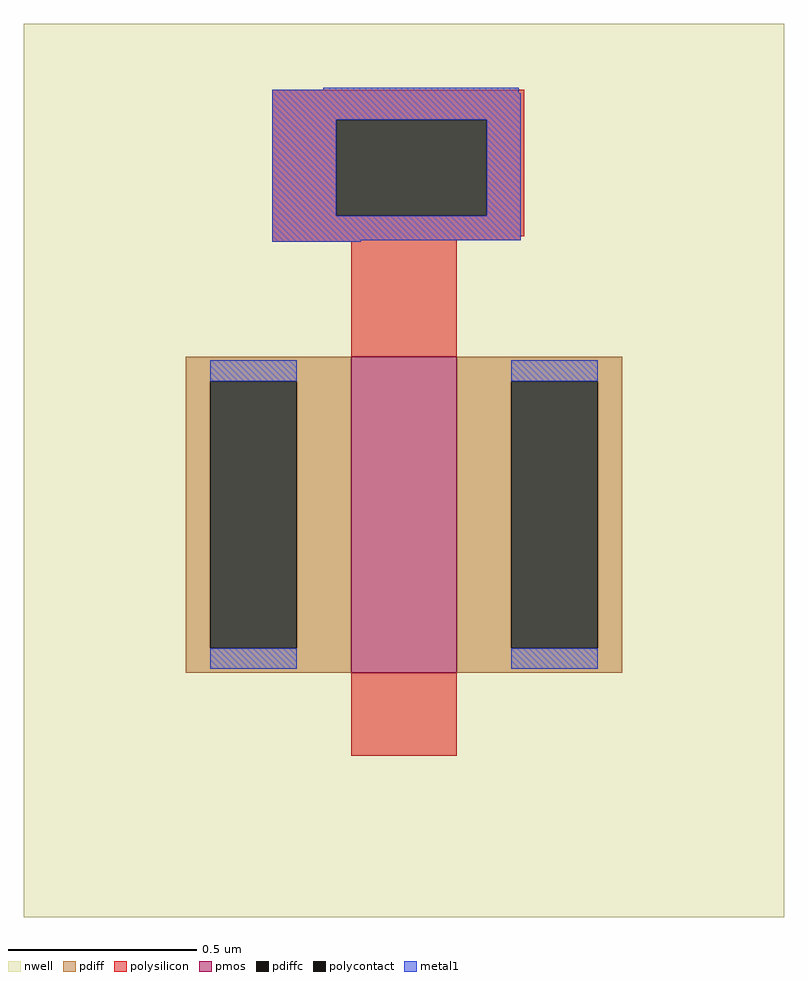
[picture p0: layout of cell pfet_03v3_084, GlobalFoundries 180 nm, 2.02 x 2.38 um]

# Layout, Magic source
magic
tech gf180mcuD
magscale 1 10
<< nwell >>
rect -79 339 325 403
rect 53 290 187 339
rect 53 288 185 290
rect 53 287 151 288
rect 95 261 151 287
<< polysilicon >>
rect 53 352 187 368
rect 53 301 87 352
rect 167 301 187 352
rect 53 290 187 301
rect 53 288 185 290
rect 53 287 151 288
rect 95 261 151 287
<< polycontact >>
rect 87 301 167 352
<< metal1 >>
rect 80 368 184 369
rect 53 366 184 368
rect 53 352 185 366
rect 53 301 87 352
rect 167 301 185 352
rect 53 288 185 301
rect 53 287 100 288
use pfet_03v3_N23838  pfet_03v3_N23838_0
transform 1 0 123 0 1 142
box -202 -214 202 214
<< end >>

# cell pfet_03v3_N23838: kit device pfet_03v3, w 0.840 l 0.280 m 1 nf 1 diffcov 100 polycov 100 guard 0 glc 0 grc 0 gtc 0 gbc 0 tbcov 100 rlcov 100 topc 0 botc 0 poverlap 0 doverlap 1 lmin 0.28 wmin 0.22 class mosfet full_metal 0 compatible {pfet_03v3 pfet_06v0}
